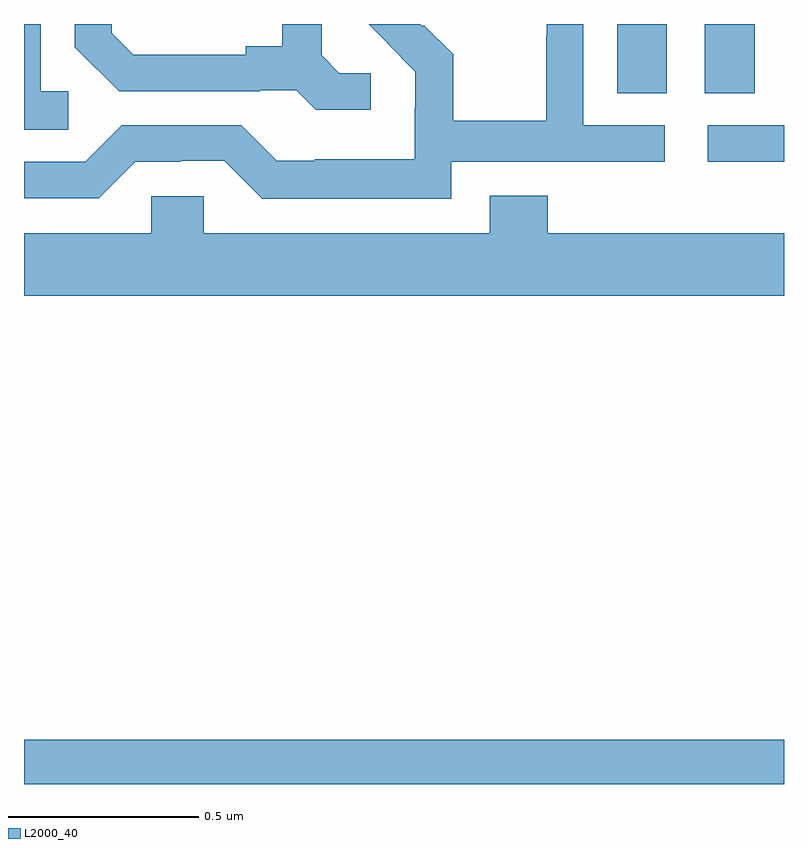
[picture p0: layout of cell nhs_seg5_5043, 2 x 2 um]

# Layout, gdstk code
import gdstk
lib = gdstk.Library(unit=1e-6, precision=1e-09)
def R(c, l, rs):  # rectangles x0, y0, x1, y1
    for r in rs: c.add(gdstk.rectangle(r[:2], r[2:], *l))
def P(c, l, *ps):  # polygons
    for p in ps: c.add(gdstk.Polygon(p, *l))
L2000_40 = (2000, 40)

nhs_seg5_5043 = lib.new_cell('nhs_seg5_5043')
R(nhs_seg5_5043, L2000_40, [(178,864.799,180,864.916), (179.799,866.436,180,866.532), (179.561,866.617,179.692,866.799), (179.792,866.617,179.923,866.799)])
P(nhs_seg5_5043, L2000_40, [(178.117,866.622),(178.044,866.622),(178.044,866.799),(178,866.799),(178,866.521),(178.117,866.521)],
  [(179.124,866.436),(179.686,866.436),(179.686,866.532),(179.472,866.532),(179.472,866.799),(179.376,866.799),(179.376,866.768),(179.374,866.768),(179.374,866.545),(179.129,866.545),(179.129,866.719),(179.052,866.796),(179.049,866.793),(179.043,866.799),(178.907,866.799),(178.957,866.749),(178.956,866.748),(179.03,866.674),(179.03,866.577),(179.028,866.577),(179.028,866.443),(178.765,866.443),(178.765,866.439),(178.665,866.439),(178.572,866.532),(178.257,866.532),(178.161,866.436),(178,866.436),(178,866.34),(178.197,866.34),(178.293,866.436),(178.412,866.436),(178.412,866.439),(178.527,866.439),(178.627,866.339),(179.124,866.339)],
  [(178.912,866.67),(178.83,866.67),(178.783,866.717),(178.783,866.799),(178.679,866.799),(178.679,866.741),(178.583,866.741),(178.583,866.718),(178.288,866.718),(178.231,866.775),(178.231,866.799),(178.134,866.799),(178.134,866.738),(178.25,866.622),(178.622,866.622),(178.622,866.625),(178.716,866.625),(178.768,866.573),(178.912,866.573)],
  [(180,866.248),(179.378,866.248),(179.378,866.347),(179.225,866.347),(179.225,866.248),(178.473,866.248),(178.473,866.346),(178.335,866.346),(178.335,866.248),(178,866.248),(178,866.084),(180,866.084)])

lib.write_gds('nhs_seg5_5043.gds')
